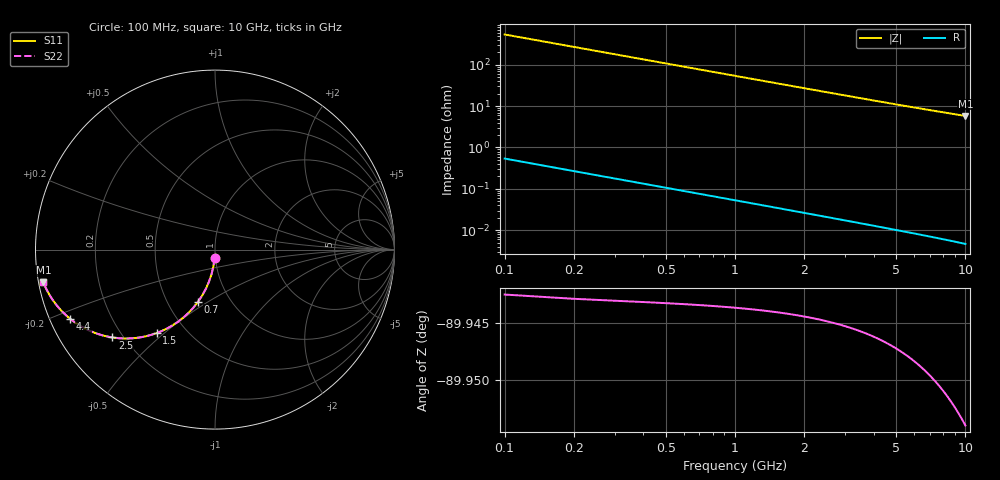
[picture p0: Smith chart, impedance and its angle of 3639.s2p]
# Hz S RI R 50.00
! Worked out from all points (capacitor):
!   100 points, 100 MHz to 10 GHz, reference 50 ohm
!   read as one part in shunt: C = 2.95 pF near 100 MHz
!   lowest |Z| = 5.81 ohm at 10 GHz (marker M1)
!   S11 on the Smith chart (normalised r, x): 100 MHz: 0.99, -0.09; 700 MHz: 0.70, -0.45; 1.5 GHz: 0.34, -0.47; 2.5 GHz: 0.16, -0.36; 4.4 GHz: 0.06, -0.23; 10 GHz: 0.01, -0.09
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1e8  -0.00216 -0.0461  0.9978 -0.0465  0.9978 -0.0465  -0.00216 -0.0461
2e8  -0.00859 -0.0916  0.9913 -0.0923  0.9913 -0.0923  -0.00859 -0.0916
3e8  -0.0191 -0.1359  0.9808 -0.137  0.9808 -0.137  -0.0191 -0.1359
4e8  -0.0334 -0.1785  0.9665 -0.18  0.9665 -0.18  -0.0334 -0.1785
5e8  -0.0512 -0.219  0.9487 -0.2209  0.9487 -0.2209  -0.0512 -0.219
6e8  -0.072 -0.257  0.9279 -0.2592  0.9279 -0.2592  -0.072 -0.257
7e8  -0.0955 -0.2921  0.9044 -0.2948  0.9044 -0.2948  -0.0955 -0.2921
9e8  -0.1485 -0.3534  0.8514 -0.3568  0.8514 -0.3568  -0.1485 -0.3534
1.1e9  -0.2065 -0.4023  0.7934 -0.4065  0.7934 -0.4065  -0.2065 -0.4023
1.3e9  -0.2665 -0.4392  0.7334 -0.4441  0.7334 -0.4441  -0.2665 -0.4392
1.5e9  -0.3259 -0.4654  0.674 -0.4711  0.674 -0.4711  -0.3259 -0.4654
1.8e9  -0.4103 -0.4879  0.5896 -0.4948  0.5896 -0.4948  -0.4103 -0.4879
2.1e9  -0.4862 -0.4953  0.5137 -0.5033  0.5137 -0.5033  -0.4862 -0.4953
2.5e9  -0.5727 -0.4894  0.4271 -0.499  0.4271 -0.499  -0.5727 -0.4894
2.9e9  -0.6432 -0.4729  0.3566 -0.4841  0.3566 -0.4841  -0.6432 -0.4729
3.4e9  -0.7125 -0.4455  0.2874 -0.4587  0.2874 -0.4587  -0.7125 -0.4455
3.9e9  -0.7653 -0.4157  0.2345 -0.4308  0.2345 -0.4308  -0.7653 -0.4157
4.4e9  -0.8059 -0.3863  0.1939 -0.4035  0.1939 -0.4035  -0.8059 -0.3863
5.1e9  -0.8481 -0.3482  0.1516 -0.3683  0.1516 -0.3683  -0.8481 -0.3482
6.7e9  -0.9064 -0.2771  0.0932 -0.3038  0.0932 -0.3038  -0.9064 -0.2771
8.4e9  -0.9388 -0.2216  0.0606 -0.2556  0.0606 -0.2556  -0.9388 -0.2216
1e10  -0.9564 -0.1821  0.0427 -0.2233  0.0427 -0.2233  -0.9564 -0.1821
